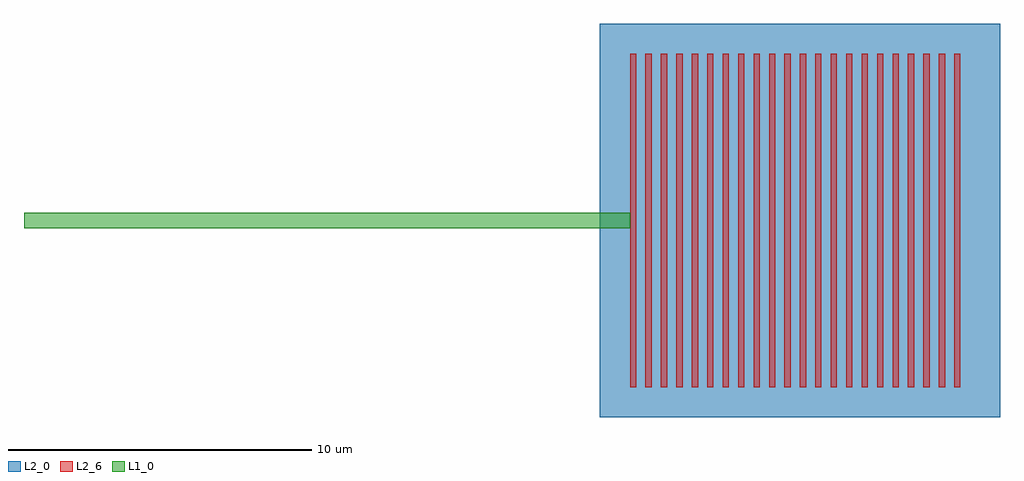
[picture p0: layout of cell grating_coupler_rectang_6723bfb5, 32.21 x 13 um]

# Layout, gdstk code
import gdstk
lib = gdstk.Library(unit=1e-6, precision=1e-09)
def R(c, l, rs):  # rectangles x0, y0, x1, y1
    for r in rs: c.add(gdstk.rectangle(r[:2], r[2:], *l))
def A(c, l, x, y, w, h, nx, ny, dx, dy):  # array of equal rectangles
    R(c, l, [(x+i*dx, y+j*dy, x+i*dx+w, y+j*dy+h) for i in range(nx) for j in range(ny)])
L1_0 = (1, 0)
L2_0 = (2, 0)
L2_6 = (2, 6)

grating_coupler_rectang_ = lib.new_cell('grating_coupler_rectang_6723bfb5')
R(grating_coupler_rectang_, L1_0, [(0,-0.25,20,0.25)])
R(grating_coupler_rectang_, L2_0, [(19,-6.5,32.208,6.5)])
A(grating_coupler_rectang_, L2_6, 24.076, -5.5, 0.204, 11, 3, 1, 0.509, 0)
A(grating_coupler_rectang_, L2_6, 28.661, -5.5, 0.204, 11, 3, 1, 0.509, 0)
R(grating_coupler_rectang_, L2_6, [(20,-5.5,20.204,5.5), (20.509,-5.5,20.713,5.5), (21.019,-5.5,21.223,5.5), (21.528,-5.5,21.732,5.5), (22.038,-5.5,22.242,5.5), (22.547,-5.5,22.751,5.5), (23.057,-5.5,23.261,5.5), (23.566,-5.5,23.77,5.5), (25.604,-5.5,25.808,5.5), (26.113,-5.5,26.317,5.5), (26.623,-5.5,26.827,5.5), (27.132,-5.5,27.336,5.5), (27.642,-5.5,27.846,5.5), (28.151,-5.5,28.355,5.5), (30.189,-5.5,30.393,5.5), (30.698,-5.5,30.902,5.5)])
grating_coupler_rectang_.add(gdstk.Label('GRATING: period=509.4nm duty_cycle=0.40 etch_depth=140.0nm n_periods=22', (16.104,9.5), layer=66, texttype=0))

lib.write_gds('grating_coupler_rectang_6723bfb5.gds')
